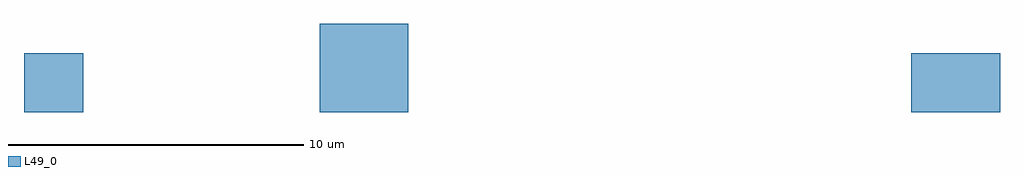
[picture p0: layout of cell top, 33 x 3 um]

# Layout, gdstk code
import gdstk
lib = gdstk.Library(unit=1e-6, precision=1e-09)
def R(c, l, rs):  # rectangles x0, y0, x1, y1
    for r in rs: c.add(gdstk.rectangle(r[:2], r[2:], *l))
L49_0 = (49, 0)

child = lib.new_cell('child')
R(child, L49_0, [(0,0,1,1)])

top = lib.new_cell('top')
r = gdstk.Reference(child, (30,0)); r.repetition = gdstk.Repetition(3, 2, v1=(1,0), v2=(0,1)); top.add(r)
r = gdstk.Reference(child, (10,0)); r.repetition = gdstk.Repetition(3, 3, v1=(1,0), v2=(0,1)); top.add(r)
r = gdstk.Reference(child, (0,0)); r.repetition = gdstk.Repetition(2, 2, v1=(1,0), v2=(0,1)); top.add(r)

lib.write_gds('top.gds')
